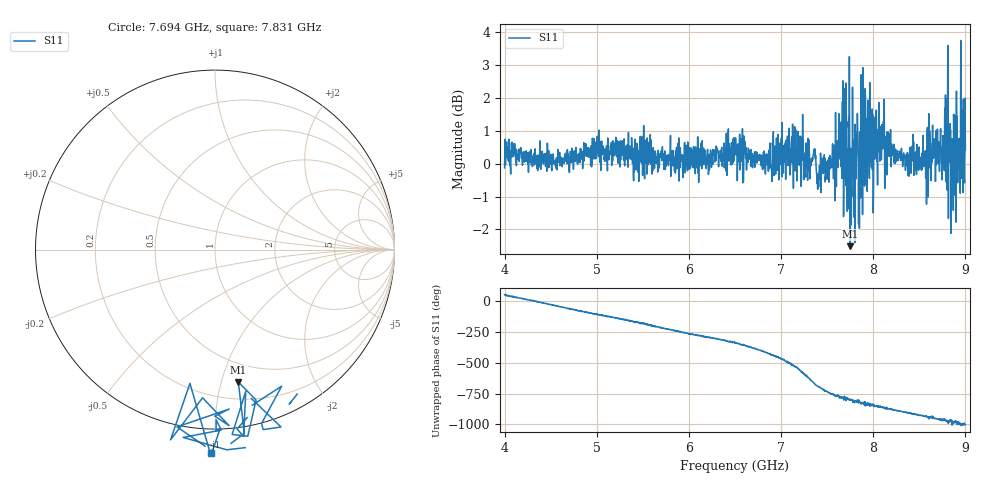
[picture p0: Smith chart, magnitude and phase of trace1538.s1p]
! Created with skrf 1.8.0 (http://scikit-rf.org).
# Hz S RI R 50.0
!freq ReS11 ImS11
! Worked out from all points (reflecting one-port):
!   1601 points, 4 GHz to 9 GHz, reference 50 ohm
!   lowest |S11| = -2.5 dB at 7.75 GHz (marker M1), VSWR 6.97, Z = 16.9 - j56.7 ohm
!   phase of S11 starts at 54 deg and turns -1056 deg over the sweep
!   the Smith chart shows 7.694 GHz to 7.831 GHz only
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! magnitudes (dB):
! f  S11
! 4 GHz  -0.1
! 4.094 GHz  0.2
! 4.625 GHz  -0.1
! 5.25 GHz  0.1
! 5.875 GHz  0.2
! 6.5 GHz  0.3
! 6.806 GHz  -0.1
! 7.125 GHz  1.2
! 7.353 GHz  0.3
! 7.409 GHz  -0.7
! 7.591 GHz  1.6
! 7.65 GHz  1.3
! 7.678 GHz  -1.6
! 7.688 GHz  2.3
! 7.7 GHz  -0.4
! 7.719 GHz  -1.4
! 7.741 GHz  3.3
! 7.75 GHz  -2.5
! 7.775 GHz  2.3
! 7.962 GHz  2.5
! 8.025 GHz  0.9
! 8.097 GHz  0.5
! 8.375 GHz  0.0
! 8.728 GHz  0.8
! 8.788 GHz  -0.1
! 8.869 GHz  -1.4
! 8.972 GHz  1.1
! 9 GHz  0.4
